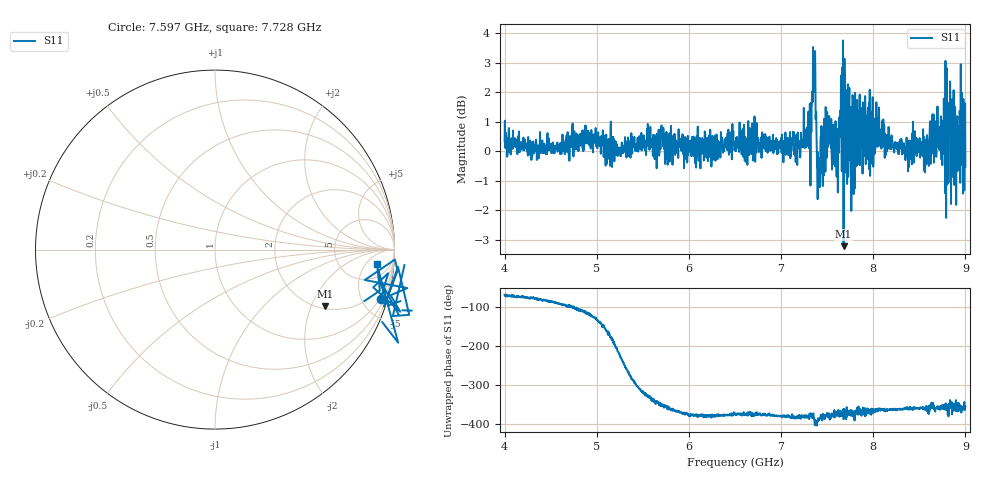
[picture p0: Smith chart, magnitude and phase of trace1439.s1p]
! Created with skrf 1.8.0 (http://scikit-rf.org).
# Hz S RI R 50.0
!freq ReS11 ImS11
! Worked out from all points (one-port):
!   1601 points, 4 GHz to 9 GHz, reference 50 ohm
!   lowest |S11| = -3.2 dB at 7.678 GHz (marker M1), VSWR 5.46, Z = 106 - j127 ohm
!   |S11| at or under -10 dB: nowhere
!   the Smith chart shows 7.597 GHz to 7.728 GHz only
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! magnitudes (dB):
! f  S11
! 4 GHz  0.3
! 4.625 GHz  0.2
! 4.891 GHz  0.7
! 5.25 GHz  0.1
! 5.709 GHz  0.5
! 5.753 GHz  -0.2
! 5.875 GHz  0.0
! 6.5 GHz  0.2
! 7.125 GHz  0.4
! 7.294 GHz  0.2
! 7.319 GHz  -1.2
! 7.347 GHz  3.5
! 7.366 GHz  2.7
! 7.409 GHz  -0.2
! 7.509 GHz  0.2
! 7.603 GHz  -0.9
! 7.638 GHz  0.5
! 7.65 GHz  2.6
! 7.678 GHz  -3.2
! 7.75 GHz  0.2
! 7.769 GHz  -1.0
! 7.928 GHz  1.0
! 8.375 GHz  0.0
! 8.766 GHz  1.8
! 8.819 GHz  1.1
! 8.869 GHz  -0.3
! 8.972 GHz  0.8
! 9 GHz  -0.5
